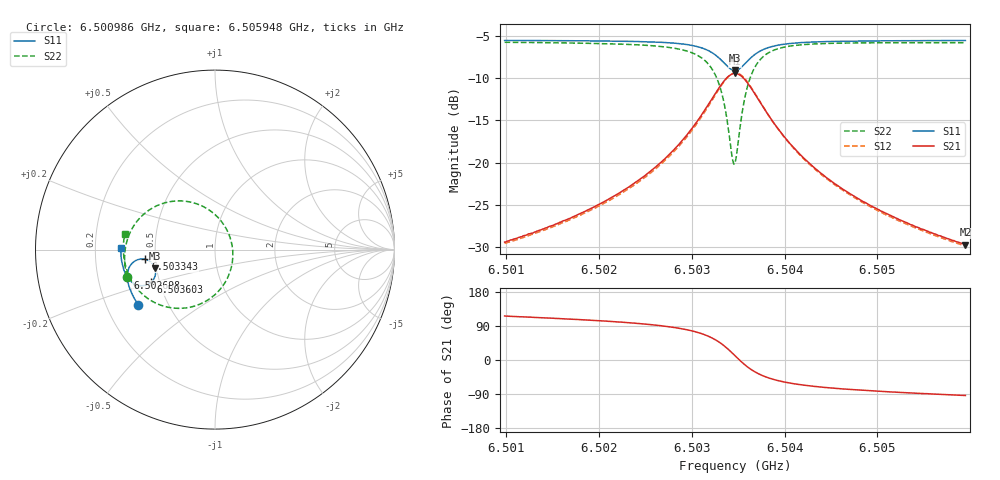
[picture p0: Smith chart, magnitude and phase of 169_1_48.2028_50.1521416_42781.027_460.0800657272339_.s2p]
#  HZ  S  RI  R  50.00
! Rohde & Schwarz Vector Network Analyzer
! Rohde-Schwarz,ZNB20-2Port,1311601062101988,3.16
! Created: UTC 3/20/2024, 11:43:38 AM
! freq[Hz]  re:S11  im:S11  re:S21  im:S21  re:S12  im:S12  re:S22  im:S22
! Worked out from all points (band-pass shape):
!   401 points, 6.500986 GHz to 6.505948 GHz, reference 50 ohm
!   highest |S21| = -9.47 dB at 6.503467 GHz (marker M1); lowest = -29.7 dB at 6.505948 GHz (marker M2)
!   |S21| within 3 dB of the highest: 6.503219 GHz to 6.503715 GHz (496 kHz wide, 0.00763 % of centre)
!   lowest |S11| = -9.1 dB at 6.503467 GHz (marker M3), VSWR 2.08, Z = 24.5 - j5.86 ohm
!   |S11| at or under -10 dB: nowhere
!   |S22| runs from -20.2 to -5.8 dB; largest |S21 - S12| = 0.012
!   S11 on the Smith chart (normalised r, x): 6.500986 GHz: 0.34, -0.29; 6.502698 GHz: 0.33, -0.14; 6.503343 GHz: 0.44, -0.06; 6.503603 GHz: 0.45, -0.19; 6.505948 GHz: 0.31, +0.01
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6.5009859e9  -0.428 -0.3068  -0.015 0.0305  -0.0131 0.0307  -0.491 -0.1504
6.5018171e9  -0.4633 -0.245  -0.0142 0.0486  -0.0118 0.0481  -0.5036 -0.0614
6.5022636e9  -0.4789 -0.2052  -0.0113 0.0676  -0.00814 0.0664  -0.5002 0.00257
6.5026482e9  -0.4879 -0.1625  -0.00189 0.0981  0.00187 0.0957  -0.4797 0.0803
6.5026978e9  -0.4884 -0.1558  0.000555 0.1039  0.00433 0.1012  -0.4743 0.093
6.5029211e9  -0.4857 -0.1212  0.0214 0.1379  0.025 0.1339  -0.4309 0.1624
6.5030824e9  -0.4724 -0.0896  0.0579 0.1733  0.061 0.1677  -0.3591 0.2254
6.5032436e9  -0.4332 -0.0573  0.1434 0.2051  0.1444 0.1986  -0.2029 0.2715
6.5033429e9  -0.3873 -0.0543  0.2342 0.1886  0.2347 0.1835  -0.0455 0.2287
6.5034297e9  -0.3447 -0.0832  0.3122 0.1144  0.3145 0.1098  0.0786 0.0825
6.5034545e9  -0.3368 -0.0973  0.3255 0.0829  0.3285 0.0775  0.0953 0.0228
6.5034669e9  -0.3341 -0.105  0.3297 0.066  0.3331 0.0602  0.099 -0.00846
6.5034917e9  -0.331 -0.1211  0.3331 0.0315  0.3368 0.0245  0.0965 -0.0713
6.5035289e9  -0.3332 -0.1449  0.3258 -0.0184  0.3289 -0.0272  0.069 -0.1595
6.5036034e9  -0.3553 -0.1816  0.2793 -0.0939  0.2789 -0.1054  -0.0406 -0.2814
6.503715e9  -0.4005 -0.2012  0.1931 -0.1389  0.1875 -0.1487  -0.2153 -0.327
6.5038763e9  -0.4475 -0.1916  0.1098 -0.1351  0.1027 -0.1403  -0.3649 -0.2786
6.50405e9  -0.4751 -0.1703  0.0647 -0.1144  0.0583 -0.1166  -0.4381 -0.2123
6.5042981e9  -0.496 -0.1403  0.0344 -0.0895  0.0294 -0.0899  -0.4818 -0.1393
6.5046702e9  -0.5115 -0.1011  0.015 -0.0657  0.0117 -0.0654  -0.5043 -0.0638
6.5051292e9  -0.521 -0.0584  0.00504 -0.0489  0.00272 -0.0481  -0.5106 0.00211
6.5059479e9  -0.5259 0.0111  -0.00211 -0.0327  -0.00344 -0.032  -0.5028 0.0895
